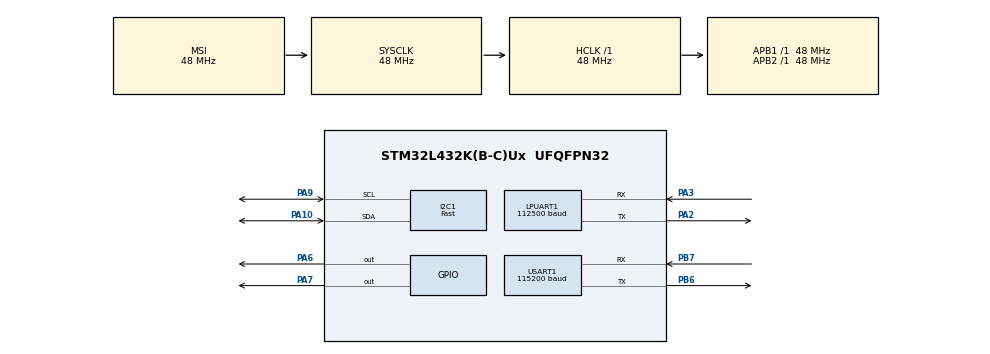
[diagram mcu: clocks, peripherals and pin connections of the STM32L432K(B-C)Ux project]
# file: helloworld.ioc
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I2C1.I2C_Speed_Mode=I2C_Fast
I2C1.Timing=0x2010091A
LPUART1.BaudRate=112500
LPUART1.WordLength=UART_WORDLENGTH_8B
Mcu.Family=STM32L4
Mcu.Name=STM32L432K(B-C)Ux
Mcu.Package=UFQFPN32
NVIC.LPUART1_IRQn=true\:0\:0\:false\:true\:true\:1\:true\:true
NVIC.PriorityGroup=NVIC_PRIORITYGROUP_4
PA0.GPIO_Label=MCO
PA0.Signal=RCC_CK_IN
PA10.Mode=I2C
PA10.Signal=I2C1_SDA
PA13\ (JTMS-SWDIO).GPIO_Label=SWDIO
PA13\ (JTMS-SWDIO).Mode=Serial_Wire
PA13\ (JTMS-SWDIO).Signal=SYS_JTMS-SWDIO
PA14\ (JTCK-SWCLK).GPIO_Label=SWCLK
PA14\ (JTCK-SWCLK).Mode=Serial_Wire
PA14\ (JTCK-SWCLK).Signal=SYS_JTCK-SWCLK
PA2.Mode=Asynchronous
PA2.Signal=LPUART1_TX
PA3.Mode=Asynchronous
PA3.Signal=LPUART1_RX
PA6.GPIO_PuPd=GPIO_PULLDOWN
PA6.PinState=GPIO_PIN_RESET
PA6.Signal=GPIO_Output
PA7.GPIO_PuPd=GPIO_PULLDOWN
PA7.PinState=GPIO_PIN_RESET
PA7.Signal=GPIO_Output
PA9.Mode=I2C
PA9.Signal=I2C1_SCL
PB6.Mode=Asynchronous
PB6.Signal=USART1_TX
PB7.Mode=Asynchronous
PB7.Signal=USART1_RX
ProjectManager.HeapSize=0x200
ProjectManager.StackSize=0x400
ProjectManager.TargetToolchain=STM32CubeIDE
RCC.ADCFreq_Value=48000000
RCC.AHBFreq_Value=48000000
RCC.APB1Freq_Value=48000000
RCC.APB1TimFreq_Value=48000000
RCC.APB2Freq_Value=48000000
RCC.APB2TimFreq_Value=48000000
RCC.CK48CLockSelection=RCC_USBCLKSOURCE_MSI
RCC.CortexFreq_Value=48000000
RCC.HCLKFreq_Value=48000000
RCC.HSE_VALUE=8000000
RCC.HSI48_VALUE=48000000
RCC.HSI_VALUE=16000000
RCC.LPTIM1CLockSelection=RCC_LPTIM1CLKSOURCE_LSE
RCC.MSIClockRange=RCC_MSIRANGE_11
RCC.MSI_VALUE=48000000
RCC.PLLM=8
RCC.PLLQ=RCC_PLLQ_DIV4
RCC.PLLSAI1N=16
RCC.PLLSAI1Q=RCC_PLLQ_DIV4
RCC.RTCClockSelection=RCC_RTCCLKSOURCE_LSE
RCC.SYSCLKFreq_VALUE=48000000
RCC.USBFreq_Value=48000000
RCC.VCOOutputFreq_Value=48000000
USART1.BaudRate=115200
USART1.VirtualMode-Asynchronous=VM_ASYNC
VP_TIM1_VS_ClockSourceINT.Mode=Internal
VP_TIM2_VS_ClockSourceINT.Mode=Internal
board=custom

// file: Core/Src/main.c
/* USER CODE BEGIN Header */
/**
  ******************************************************************************
  * @file           : main.c
  * @brief          : Main program body
  ******************************************************************************
  * @attention
  *
  * Copyright (c) 2022 STMicroelectronics.
  * All rights reserved.
  *
  * This software is licensed under terms that can be found in the LICENSE file
  * in the root directory of this software component.
  * If no LICENSE file comes with this software, it is provided AS-IS.
  *
  ******************************************************************************
  */
/* USER CODE END Header */
#include "main.h"

/* USER CODE BEGIN Includes */
#include <stdio.h>
#include <math.h>
#include <time.h>
#include "logger.h"
#include "levmarq.h"
/* USER CODE END Includes */

/* USER CODE BEGIN PD */
#define N_MEASUREMENTS 395
#define N_PARAMS 3
/* USER CODE END PD */

I2C_HandleTypeDef hi2c1;

UART_HandleTypeDef hlpuart1;
UART_HandleTypeDef huart1;

TIM_HandleTypeDef htim1;
TIM_HandleTypeDef htim2;

/* USER CODE BEGIN PV */
char print_data[PRINT_DATA_SIZE];
double t_data[N_MEASUREMENTS] = { 21.6,  22. ,  22.4,  22.4,  22.5,  22.4,  22.2,  22.3,  22.4,\
        22.1,  21.8,  21.6,  22.1,  22. ,  21.7,  21.7,  21.5,  21.5,\
        21.4,  21.6,  21.7,  21.8,  21.9,  22. ,  21.9,  22.2,  22.3,\
        22.3,  22.4,  22.4,  22.4,  23. ,  23.6,  24.6,  24.3,  24.3,\
        24.2,  25. ,  25. ,  25.2,  25.4,  26. ,  26.3,  26.3,  26. ,\
        26.1,  25.9,  25.7,  26.1,  26. ,  26.3,  26.4,  26.4,  26.4,\
        26.5,  26.8,  26.8,  26.9,  27.2,  27.8,  27.9,  28.2,  28.1,\
        28.1,  28. ,  28. ,  28.3,  28.4,  28.8,  29.7,  30. ,  30.1,\
        29.8,  30.4,  30.9,  30.6,  30.7,  30.6,  30.3,  30.4,  30.8,\
        31.3,  31.3,  31.4,  31.2,  31.4,  31.5,  31.6,  31.8,  32.3,\
        32.2,  32.7,  32.4,  32.3,  32.7,  33. ,  33. ,  33.1,  33.2,\
        33.3,  33.6,  34. ,  33.9,  34.1,  34.2,  34.4,  34.7,  35.1,\
        35.2,  34.9,  35.2,  35.3,  35.1,  35.3,  36. ,  35.9,  35.9,\
        36.4,  36.9,  36.5,  36.4,  36.9,  36.9,  36.9,  37.4,  37. ,\
        36.9,  36.4,  37. ,  37.1,  37. ,  37.1,  37.1,  37.6,  37.8,\
        38. ,  38.7,  39. ,  39.2,  39.5,  40.1,  40.4,  40.6,  40.2,\
        40.1,  40.3,  40.4,  40.7,  40.9,  40.5,  40.7,  41.5,  41.4,\
        41.3,  40.7,  40.5,  40.8,  41.2,  41.2,  41. ,  41.3,  41.5,\
        41.7,  42.1,  42.1,  42.3,  42.2,  41.8,  42. ,  42.4,  42.6,\
        42.6,  42.3,  42.4,  42.7,  43.1,  42.9,  42.8,  42.8,  43.1,\
        43.4,  44. ,  43.9,  43.9,  43.8,  43.9,  44.4,  44.6,  45.1,\
        45.2,  45.2,  45.2,  45.4,  45.7,  45.3,  45.1,  45.1,  45.6,\
        45.9,  45.9,  45.9,  46. ,  46.2,  46.2,  46.3,  46.6,  46.9,\
        46.9,  47.2,  47.6,  47.5,  47.7,  47.6,  47.7,  48. ,  47.8,\
        47.9,  48. ,  48.2,  48. ,  48. ,  48.1,  48.6,  48.6,  49.2,\
        48.9,  48.8,  49.2,  49.4,  49.2,  49. ,  49.3,  49.8,  50.3,\
        50.7,  50.9,  50.8,  50.6,  50.4,  50.7,  50.9,  51. ,  51.4,\
        51.4,  51.8,  51.8,  51.6,  52.3,  52.7,  53.3,  53.1,  54. ,\
        53.3,  53.3,  53.6,  53.2,  53. ,  53.1,  53.4,  53.5,  53.6,\
        53.9,  53.7,  53.9,  53.9,  52.8,  53.1,  53.1,  53.3,  53.4,\
        53.6,  54. ,  54.3,  54.2,  54.4,  54.7,  54.6,  56.5,  56.4,\
        55.7,  55.8,  55.9,  56.2,  56.2,  56.3,  56.3,  56.5,  56.9,\
        57. ,  57.4,  57.9,  58.2,  57.6,  57.5,  57.9,  58.4,  58.9,\
        59.1,  58.4,  59. ,  62.4,  57.6,  56.6,  58.6,  59. ,  59. ,\
        59. ,  59.3,  59.5,  59. ,  59.4,  59.2,  59.1,  60. ,  59.8,\
        60.3,  60.8,  60.5,  60.4,  61.5,  60.7,  60.7,  61. ,  60.9,\
        61. ,  61.3,  61.7,  61.5,  61.4,  61.8,  61.9,  62.6,  62.3,\
        62.1,  62. ,  62.3,  62.4,  62.4,  61.7,  62.7,  63.2,  62.8,\
        62.9,  63. ,  63.6,  63.9,  63.3,  63.7,  63.5,  63.3,  63.9,\
        64. ,  63.8,  63.9,  64.5,  64.3,  63.8,  63.5,  64. ,  64.3,\
        65.2,  65.7,  65.9,  65.6,  64.7,  65. ,  65.1,  65.8,  66.2,\
        66.6,  66.3,  66. ,  65.5,  66.2,  66.4,  66.8,  67.4,  67.3,\
        67. ,  66.8,  66.4,  67.3,  66.9,  67.6,  72.1,  66.6,  66.2,\
        67.1,  70. ,  68.8,  68.1,  67.8,  67.3,  67.4,  66.2 };

double params[N_PARAMS] = {200, 20, 0.001}; // Initial values of parameters
LMstat lmstat;
/* USER CODE END PV */

void SystemClock_Config(void);
static void MX_GPIO_Init(void);
static void MX_LPUART1_UART_Init(void);
static void MX_USART1_UART_Init(void);
static void MX_I2C1_Init(void);
static void MX_TIM1_Init(void);
static void MX_TIM2_Init(void);
static void MX_NVIC_Init(void);
/* USER CODE BEGIN PFP */
/* @brief   Function, describes Newton law of heating/cooling
 *
 * @usage   par[0] - temperature of heater,
 *          par[1] - initial temperature of water,
 *          par[2] - heat transmission coefficient
 *
 * @par     input of Newton Law:
 * @x       samplenumber
 * @fdata   additional data, not used
 *
 * @return  temperature at the time x
 */
double newton_func(double *par, int x, void *fdata)
{
    return par[0] + (par[1] - par[0]) * exp( -par[2]*x);
}

/*
 * @brief   Gradient function for Newton law of heating
 */
void gradient(double *g, double *par, int x, void *fdata)
{
    g[0] = 1.0 - exp(-par[2] * x);
    g[1] = exp(-par[2] * x);
    g[2] = -x * (par[1] - par[0]) * exp(-par[2] * x);
}

/*
 * @brief  Function for prediction of time, when target temperature will be reached
 *
 * @par    Parameters from Newton equation
 * @temp   Target temperature
 * @return Number of sample
 */
int temp_to_time(double *par, double temp)
{
    return -(1/par[2]) * log((temp - par[0])/(par[1] - par[0]));
}
/* USER CODE END PFP */

int main(void)
{

  /* MCU Configuration--------------------------------------------------------*/

  /* Reset of all peripherals, Initializes the Flash interface and the Systick. */
  HAL_Init();

  /* Configure the system clock */
  SystemClock_Config();

  /* Initialize all configured peripherals */
  MX_GPIO_Init();
  MX_LPUART1_UART_Init();
  MX_USART1_UART_Init();
  MX_I2C1_Init();
  MX_TIM1_Init();
  MX_TIM2_Init();

  /* Initialize interrupts */
  MX_NVIC_Init();
  /* USER CODE BEGIN 2 */
  int n_iterations;
  levmarq_init(&lmstat);
  n_iterations = levmarq(N_PARAMS, params, N_MEASUREMENTS, t_data, NULL,
          &newton_func, &gradient, NULL, &lmstat);
  log_info("%s","**************** End of calculation ***********************");
  log_info("N iterations: %d", n_iterations);
  log_info("T_heater: %f, T_0: %f, k: %f", params[0], params[1], params[2]);
  log_info("%s","**************** Interpolation test ***********************");
  log_info("%s","Search for temp 70 degrees");
  log_info("Result: %d sample", temp_to_time(params, 50.0));
  /* USER CODE END 2 */

  /* Infinite loop */
  /* USER CODE BEGIN WHILE */
  while (1)
  {
	  log_info("%s","Hello World!");
	  HAL_Delay(1000);
    /* USER CODE END WHILE */

  }
}

void SystemClock_Config(void)
{
  RCC_OscInitTypeDef RCC_OscInitStruct = {0};
  RCC_ClkInitTypeDef RCC_ClkInitStruct = {0};

  /** Configure the main internal regulator output voltage
  */
  if (HAL_PWREx_ControlVoltageScaling(PWR_REGULATOR_VOLTAGE_SCALE1) != HAL_OK)
  {
    Error_Handler();
  }
  /** Initializes the RCC Oscillators according to the specified parameters
  * in the RCC_OscInitTypeDef structure.
  */
  RCC_OscInitStruct.OscillatorType = RCC_OSCILLATORTYPE_MSI;
  RCC_OscInitStruct.MSIState = RCC_MSI_ON;
  RCC_OscInitStruct.MSICalibrationValue = 0;
  RCC_OscInitStruct.MSIClockRange = RCC_MSIRANGE_11;
  RCC_OscInitStruct.PLL.PLLState = RCC_PLL_NONE;
  if (HAL_RCC_OscConfig(&RCC_OscInitStruct) != HAL_OK)
  {
    Error_Handler();
  }
  /** Initializes the CPU, AHB and APB buses clocks
  */
  RCC_ClkInitStruct.ClockType = RCC_CLOCKTYPE_HCLK|RCC_CLOCKTYPE_SYSCLK
                              |RCC_CLOCKTYPE_PCLK1|RCC_CLOCKTYPE_PCLK2;
  RCC_ClkInitStruct.SYSCLKSource = RCC_SYSCLKSOURCE_MSI;
  RCC_ClkInitStruct.AHBCLKDivider = RCC_SYSCLK_DIV1;
  RCC_ClkInitStruct.APB1CLKDivider = RCC_HCLK_DIV1;
  RCC_ClkInitStruct.APB2CLKDivider = RCC_HCLK_DIV1;

  if (HAL_RCC_ClockConfig(&RCC_ClkInitStruct, FLASH_LATENCY_2) != HAL_OK)
  {
    Error_Handler();
  }
}

/**
  * @brief NVIC Configuration.
  * @retval None
  */
static void MX_NVIC_Init(void)
{
  /* LPUART1_IRQn interrupt configuration */
  HAL_NVIC_SetPriority(LPUART1_IRQn, 0, 0);
  HAL_NVIC_EnableIRQ(LPUART1_IRQn);
}

static void MX_I2C1_Init(void)
{

  hi2c1.Instance = I2C1;
  hi2c1.Init.Timing = 0x2010091A;
  hi2c1.Init.OwnAddress1 = 0;
  hi2c1.Init.AddressingMode = I2C_ADDRESSINGMODE_7BIT;
  hi2c1.Init.DualAddressMode = I2C_DUALADDRESS_DISABLE;
  hi2c1.Init.OwnAddress2 = 0;
  hi2c1.Init.OwnAddress2Masks = I2C_OA2_NOMASK;
  hi2c1.Init.GeneralCallMode = I2C_GENERALCALL_DISABLE;
  hi2c1.Init.NoStretchMode = I2C_NOSTRETCH_DISABLE;
  if (HAL_I2C_Init(&hi2c1) != HAL_OK)
  {
    Error_Handler();
  }
  /** Configure Analogue filter
  */
  if (HAL_I2CEx_ConfigAnalogFilter(&hi2c1, I2C_ANALOGFILTER_ENABLE) != HAL_OK)
  {
    Error_Handler();
  }
  /** Configure Digital filter
  */
  if (HAL_I2CEx_ConfigDigitalFilter(&hi2c1, 0) != HAL_OK)
  {
    Error_Handler();
  }

}

static void MX_LPUART1_UART_Init(void)
{

  hlpuart1.Instance = LPUART1;
  hlpuart1.Init.BaudRate = 112500;
  hlpuart1.Init.WordLength = UART_WORDLENGTH_8B;
  hlpuart1.Init.StopBits = UART_STOPBITS_1;
  hlpuart1.Init.Parity = UART_PARITY_NONE;
  hlpuart1.Init.Mode = UART_MODE_TX_RX;
  hlpuart1.Init.HwFlowCtl = UART_HWCONTROL_NONE;
  hlpuart1.Init.OneBitSampling = UART_ONE_BIT_SAMPLE_DISABLE;
  hlpuart1.AdvancedInit.AdvFeatureInit = UART_ADVFEATURE_NO_INIT;
  if (HAL_UART_Init(&hlpuart1) != HAL_OK)
  {
    Error_Handler();
  }

}

static void MX_USART1_UART_Init(void)
{

  huart1.Instance = USART1;
  huart1.Init.BaudRate = 115200;
  huart1.Init.WordLength = UART_WORDLENGTH_8B;
  huart1.Init.StopBits = UART_STOPBITS_1;
  huart1.Init.Parity = UART_PARITY_NONE;
  huart1.Init.Mode = UART_MODE_TX_RX;
  huart1.Init.HwFlowCtl = UART_HWCONTROL_NONE;
  huart1.Init.OverSampling = UART_OVERSAMPLING_16;
  huart1.Init.OneBitSampling = UART_ONE_BIT_SAMPLE_DISABLE;
  huart1.AdvancedInit.AdvFeatureInit = UART_ADVFEATURE_NO_INIT;
  if (HAL_UART_Init(&huart1) != HAL_OK)
  {
    Error_Handler();
  }

}

static void MX_TIM1_Init(void)
{

  TIM_ClockConfigTypeDef sClockSourceConfig = {0};
  TIM_MasterConfigTypeDef sMasterConfig = {0};

  htim1.Instance = TIM1;
  htim1.Init.Prescaler = 0;
  htim1.Init.CounterMode = TIM_COUNTERMODE_UP;
  htim1.Init.Period = 65535;
  htim1.Init.ClockDivision = TIM_CLOCKDIVISION_DIV1;
  htim1.Init.RepetitionCounter = 0;
  htim1.Init.AutoReloadPreload = TIM_AUTORELOAD_PRELOAD_DISABLE;
  if (HAL_TIM_Base_Init(&htim1) != HAL_OK)
  {
    Error_Handler();
  }
  sClockSourceConfig.ClockSource = TIM_CLOCKSOURCE_INTERNAL;
  if (HAL_TIM_ConfigClockSource(&htim1, &sClockSourceConfig) != HAL_OK)
  {
    Error_Handler();
  }
  sMasterConfig.MasterOutputTrigger = TIM_TRGO_RESET;
  sMasterConfig.MasterOutputTrigger2 = TIM_TRGO2_RESET;
  sMasterConfig.MasterSlaveMode = TIM_MASTERSLAVEMODE_DISABLE;
  if (HAL_TIMEx_MasterConfigSynchronization(&htim1, &sMasterConfig) != HAL_OK)
  {
    Error_Handler();
  }

}

static void MX_TIM2_Init(void)
{

  TIM_ClockConfigTypeDef sClockSourceConfig = {0};
  TIM_MasterConfigTypeDef sMasterConfig = {0};

  htim2.Instance = TIM2;
  htim2.Init.Prescaler = 0;
  htim2.Init.CounterMode = TIM_COUNTERMODE_UP;
  htim2.Init.Period = 4294967295;
  htim2.Init.ClockDivision = TIM_CLOCKDIVISION_DIV1;
  htim2.Init.AutoReloadPreload = TIM_AUTORELOAD_PRELOAD_DISABLE;
  if (HAL_TIM_Base_Init(&htim2) != HAL_OK)
  {
    Error_Handler();
  }
  sClockSourceConfig.ClockSource = TIM_CLOCKSOURCE_INTERNAL;
  if (HAL_TIM_ConfigClockSource(&htim2, &sClockSourceConfig) != HAL_OK)
  {
    Error_Handler();
  }
  sMasterConfig.MasterOutputTrigger = TIM_TRGO_RESET;
  sMasterConfig.MasterSlaveMode = TIM_MASTERSLAVEMODE_DISABLE;
  if (HAL_TIMEx_MasterConfigSynchronization(&htim2, &sMasterConfig) != HAL_OK)
  {
    Error_Handler();
  }

}

static void MX_GPIO_Init(void)
{
  GPIO_InitTypeDef GPIO_InitStruct = {0};

  /* GPIO Ports Clock Enable */
  __HAL_RCC_GPIOA_CLK_ENABLE();
  __HAL_RCC_GPIOB_CLK_ENABLE();

  /*Configure GPIO pin Output Level */
  HAL_GPIO_WritePin(GPIOA, GPIO_PIN_6|GPIO_PIN_7, GPIO_PIN_RESET);

  /*Configure GPIO pins : PA6 PA7 */
  GPIO_InitStruct.Pin = GPIO_PIN_6|GPIO_PIN_7;
  GPIO_InitStruct.Mode = GPIO_MODE_OUTPUT_PP;
  GPIO_InitStruct.Pull = GPIO_PULLDOWN;
  GPIO_InitStruct.Speed = GPIO_SPEED_FREQ_LOW;
  HAL_GPIO_Init(GPIOA, &GPIO_InitStruct);

}

void Error_Handler(void)
{
  __disable_irq();
  while (1)
  {
  }
}
